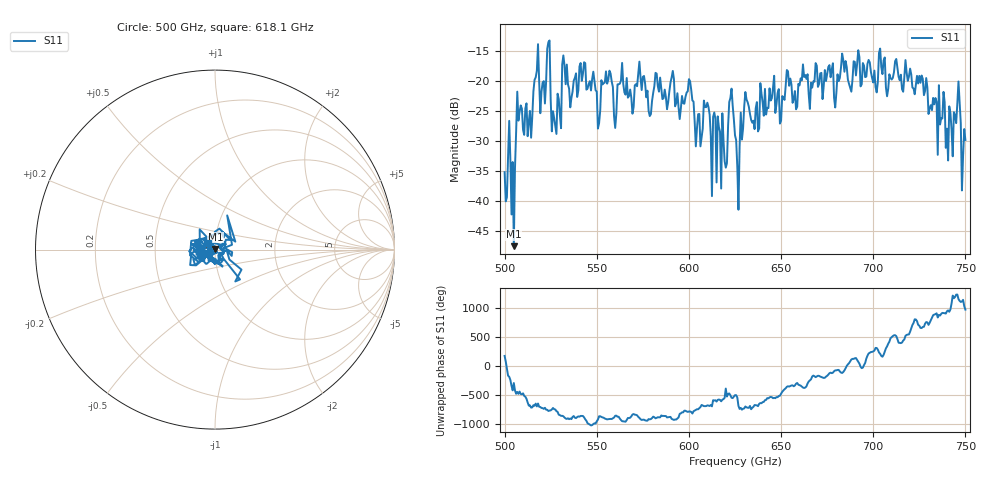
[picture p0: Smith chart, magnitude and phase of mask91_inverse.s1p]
!Created with skrf (http://scikit-rf.org).
# GHz S MA R 50.0
!freq magS11 angS11
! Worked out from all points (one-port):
!   401 points, 500 GHz to 750 GHz, reference 50 ohm
!   lowest |S11| = -47.5 dB at 505 GHz (marker M1), VSWR 1.01, Z = 50.2 + j0.379 ohm
!   |S11| at or under -10 dB: start of sweep to end of sweep
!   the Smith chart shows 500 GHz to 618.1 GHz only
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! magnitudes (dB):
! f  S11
! 500 GHz  -35.2
! 505 GHz  -47.5
! 507.5 GHz  -26.6
! 513.8 GHz  -25.0
! 516.9 GHz  -19.4
! 520.6 GHz  -20.3
! 523.8 GHz  -13.5
! 526.9 GHz  -26.2
! 531.2 GHz  -17.3
! 542.5 GHz  -18.8
! 550.6 GHz  -27.9
! 562.5 GHz  -20.5
! 590.6 GHz  -19.4
! 593.8 GHz  -22.1
! 600 GHz  -19.7
! 605 GHz  -25.5
! 609.4 GHz  -24.4
! 618.8 GHz  -29.8
! 623.1 GHz  -21.3
! 625 GHz  -29.1
! 626.2 GHz  -34.3
! 631.2 GHz  -23.1
! 656.2 GHz  -23.7
! 687.5 GHz  -21.1
! 718.8 GHz  -20.0
! 741.9 GHz  -25.4
! 745.6 GHz  -23.8
! 750 GHz  -29.8
